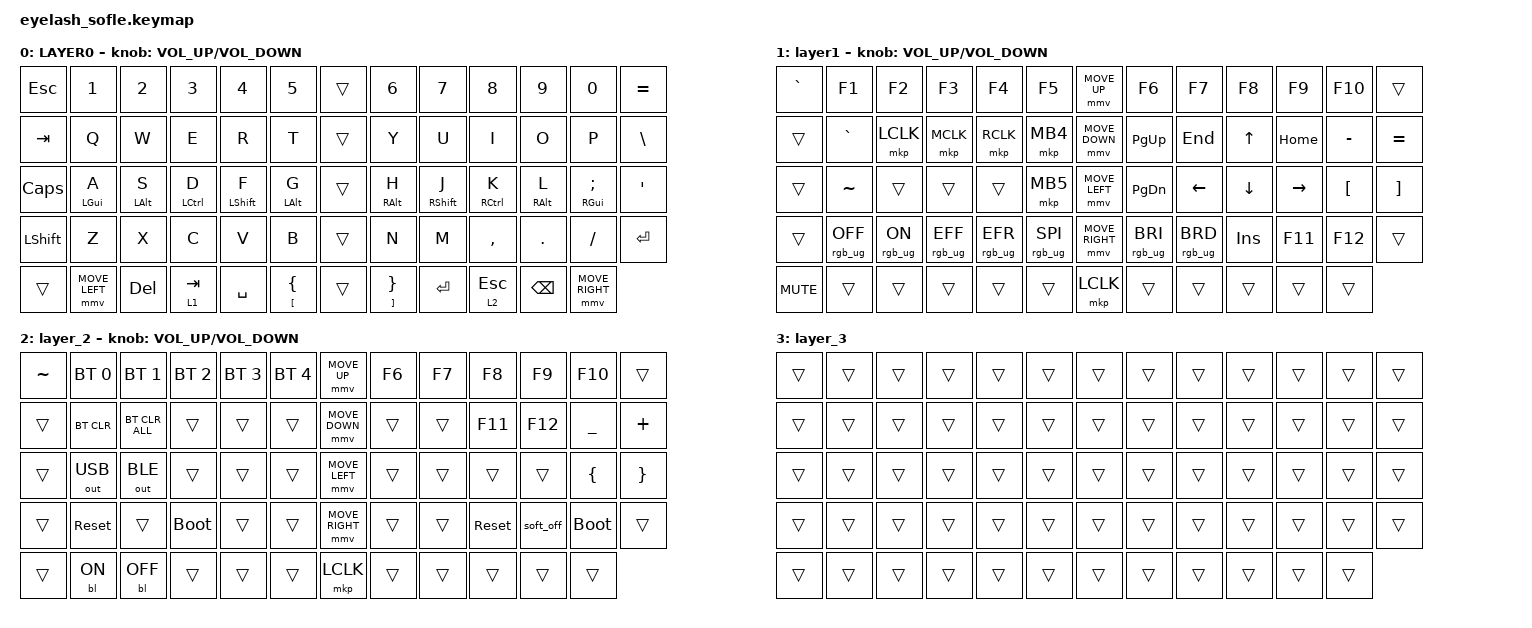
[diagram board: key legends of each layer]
# eyelash_sofle.keymap

#define ZMK_POINTING_DEFAULT_MOVE_VAL 1200  // 600
#define ZMK_POINTING_DEFAULT_SCRL_VAL 25   // 10

#include <input/processors.dtsi>
#include <zephyr/dt-bindings/input/input-event-codes.h>
#include <behaviors.dtsi>
#include <dt-bindings/zmk/backlight.h>
#include <dt-bindings/zmk/bt.h>
#include <dt-bindings/zmk/keys.h>
#include <dt-bindings/zmk/outputs.h>
#include <dt-bindings/zmk/pointing.h>
#include <dt-bindings/zmk/rgb.h>

&mmv_input_listener { input-processors = <&zip_xy_scaler 2 1>; };

&msc_input_listener { input-processors = <&zip_scroll_scaler 2 1>; };

&mt {
    tapping-term-ms = <400>;
    quick-tap-ms = <0>;
    flavor = "tap-preferred";
};

/ {
    keymap {
        compatible = "zmk,keymap";

        layer0 {
            bindings = <
&kp ESC    &kp N1          &kp N2          &kp N3              &kp N4            &kp N5                         &trans  &kp N6                         &kp N7             &kp N8               &kp N9           &kp N0              &kp EQUAL
&kp TAB    &kp Q           &kp W           &kp E               &kp R             &kp T                          &trans  &kp Y                          &kp U              &kp I                &kp O            &kp P               &kp BSLH
&kp CAPS   &mt LEFT_GUI A  &mt LEFT_ALT S  &mt LEFT_CONTROL D  &mt LEFT_SHIFT F  &mt LEFT_ALT G                 &trans  &mt RIGHT_ALT H                &mt RIGHT_SHIFT J  &mt RIGHT_CONTROL K  &mt RIGHT_ALT L  &mt RIGHT_GUI SEMI  &kp APOS
&kp LSHFT  &kp Z           &kp X           &kp C               &kp V             &kp B                          &trans  &kp N                          &kp M              &kp COMMA            &kp DOT          &kp FSLH            &kp ENTER
&trans     &mmv MOVE_LEFT  &kp DEL         &lt 1 TAB           &kp SPACE         &mt LEFT_BRACKET LEFT_BRACE    &trans  &mt RIGHT_BRACKET RIGHT_BRACE  &kp ENTER          &lt 2 ESC            &kp BACKSPACE    &mmv MOVE_RIGHT
            >;

            display-name = "LAYER0";
            sensor-bindings = <&inc_dec_kp C_VOLUME_UP C_VOLUME_DOWN>;
        };

        layer_1 {
            bindings = <
&kp GRAVE   &kp F1           &kp F2          &kp F3           &kp F4           &kp F5             &mmv MOVE_UP     &kp F6           &kp F7           &kp F8      &kp F9     &kp F10           &trans
&trans      &kp GRAVE        &mkp LCLK       &mkp MCLK        &mkp RCLK        &mkp MB4           &mmv MOVE_DOWN   &kp PG_UP        &kp END          &kp UP      &kp HOME   &kp MINUS         &kp EQUAL
&trans      &kp TILDE        &trans          &trans           &trans           &mkp MB5           &mmv MOVE_LEFT   &kp PG_DN        &kp LEFT         &kp DOWN    &kp RIGHT  &kp LEFT_BRACKET  &kp RIGHT_BRACKET
&trans      &rgb_ug RGB_OFF  &rgb_ug RGB_ON  &rgb_ug RGB_EFF  &rgb_ug RGB_EFR  &rgb_ug RGB_SPI    &mmv MOVE_RIGHT  &rgb_ug RGB_BRI  &rgb_ug RGB_BRD  &kp INSERT  &kp F11    &kp F12           &trans
&kp C_MUTE  &trans           &trans          &trans           &trans           &trans             &mkp LCLK        &trans           &trans           &trans      &trans     &trans
            >;

            display-name = "layer1";
            sensor-bindings = <&inc_dec_kp C_VOLUME_UP C_VOLUME_DOWN>;
        };

        layer_2 {
            bindings = <
&kp TILDE  &bt BT_SEL 0  &bt BT_SEL 1    &bt BT_SEL 2  &bt BT_SEL 3  &bt BT_SEL 4    &mmv MOVE_UP     &kp F6  &kp F7  &kp F8      &kp F9     &kp F10      &trans
&trans     &bt BT_CLR    &bt BT_CLR_ALL  &trans        &trans        &trans          &mmv MOVE_DOWN   &trans  &trans  &kp F11     &kp F12    &kp UNDER    &kp PLUS
&trans     &out OUT_USB  &out OUT_BLE    &trans        &trans        &trans          &mmv MOVE_LEFT   &trans  &trans  &trans      &trans     &kp LBRC     &kp RBRC
&trans     &sys_reset    &trans          &bootloader   &trans        &trans          &mmv MOVE_RIGHT  &trans  &trans  &sys_reset  &soft_off  &bootloader  &trans
&trans     &bl BL_ON     &bl BL_OFF      &trans        &trans        &trans          &mkp LCLK        &trans  &trans  &trans      &trans     &trans
            >;

            sensor-bindings = <&inc_dec_kp C_VOLUME_UP C_VOLUME_DOWN>;
        };

        layer_3 {
            bindings = <
&trans  &trans  &trans  &trans  &trans  &trans    &trans  &trans  &trans  &trans  &trans  &trans  &trans
&trans  &trans  &trans  &trans  &trans  &trans    &trans  &trans  &trans  &trans  &trans  &trans  &trans
&trans  &trans  &trans  &trans  &trans  &trans    &trans  &trans  &trans  &trans  &trans  &trans  &trans
&trans  &trans  &trans  &trans  &trans  &trans    &trans  &trans  &trans  &trans  &trans  &trans  &trans
&trans  &trans  &trans  &trans  &trans  &trans    &trans  &trans  &trans  &trans  &trans  &trans
            >;
        };
    };
};
